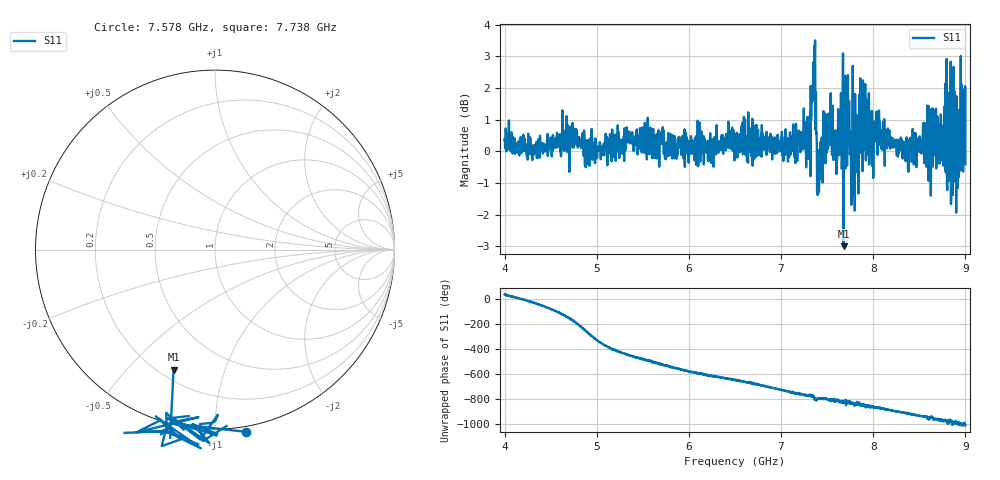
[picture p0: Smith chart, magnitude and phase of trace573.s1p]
! Created with skrf 1.8.0 (http://scikit-rf.org).
# Hz S RI R 50.0
!freq ReS11 ImS11
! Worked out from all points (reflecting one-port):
!   1601 points, 4 GHz to 9 GHz, reference 50 ohm
!   lowest |S11| = -3.0 dB at 7.678 GHz (marker M1), VSWR 5.85, Z = 12.7 - j34.1 ohm
!   phase of S11 starts at 32 deg and turns -1043 deg over the sweep
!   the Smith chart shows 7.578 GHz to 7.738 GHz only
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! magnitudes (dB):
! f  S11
! 4 GHz  0.4
! 4.625 GHz  0.7
! 5.25 GHz  0.3
! 5.875 GHz  -0.1
! 6.5 GHz  0.5
! 7.125 GHz  0.3
! 7.294 GHz  -0.2
! 7.347 GHz  1.8
! 7.362 GHz  3.3
! 7.397 GHz  -1.4
! 7.412 GHz  -1.3
! 7.512 GHz  1.2
! 7.591 GHz  0.7
! 7.647 GHz  0.6
! 7.678 GHz  -3.0
! 7.712 GHz  0.2
! 7.75 GHz  0.0
! 7.775 GHz  0.8
! 7.928 GHz  0.8
! 7.981 GHz  0.2
! 8.375 GHz  -0.2
! 8.603 GHz  1.4
! 8.656 GHz  0.4
! 8.781 GHz  -0.6
! 8.834 GHz  1.3
! 8.9 GHz  -1.9
! 8.972 GHz  0.4
! 9 GHz  -0.4
